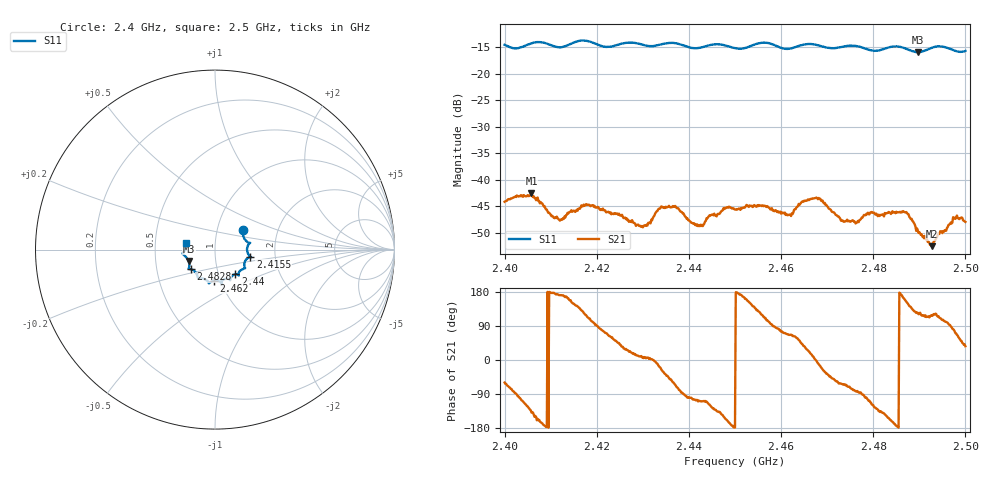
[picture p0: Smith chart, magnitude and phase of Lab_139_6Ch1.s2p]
# Hz S RI R 50
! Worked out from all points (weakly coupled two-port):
!   601 points, 2.4 GHz to 2.5 GHz, reference 50 ohm
!   highest |S21| = -42.55 dB at 2.4058 GHz (marker M1); lowest = -52.5 dB at 2.4927 GHz (marker M2)
!   lowest |S11| = -15.9 dB at 2.4897 GHz (marker M3), VSWR 1.38, Z = 36.9 - j4.82 ohm
!   |S11| at or under -10 dB: start of sweep to end of sweep
!   S12 and S22 are empty: the file has one direction only
!   S11 on the Smith chart (normalised r, x): 2.4 GHz: 1.33, +0.29; 2.4155 GHz: 1.49, -0.12; 2.44 GHz: 1.21, -0.34; 2.462 GHz: 0.93, -0.33; 2.4828 GHz: 0.74, -0.17; 2.5 GHz: 0.72, +0.06
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2.4e9  0.1554 0.1065  0.00314 -0.00535  0 0  0 0
2.405833e9  0.191 0.0378  -0.00561 -0.00491  0 0  0 0
2.412e9  0.1783 -0.000337  -0.00406 0.000624  0 0  0 0
2.4155e9  0.1973 -0.0393  -0.0041 0.00302  0 0  0 0
2.416667e9  0.202 -0.0425  -0.00376 0.00433  0 0  0 0
2.429667e9  0.1563 -0.1081  0.00353 0.000649  0 0  0 0
2.433333e9  0.1308 -0.1337  0.00512 -0.00124  0 0  0 0
2.437e9  0.1322 -0.1436  0.00237 -0.00515  0 0  0 0
2.44e9  0.1142 -0.1366  -0.000583 -0.00411  0 0  0 0
2.4425e9  0.0918 -0.1508  -0.00122 -0.00356  0 0  0 0
2.45e9  0.0648 -0.1624  -0.00523 -0.000155  0 0  0 0
2.456e9  0.0383 -0.1931  -0.00263 0.00509  0 0  0 0
2.462e9  -0.00501 -0.1732  0.00188 0.00427  0 0  0 0
2.466667e9  -0.0345 -0.188  0.00641 0.00156  0 0  0 0
2.4735e9  -0.0843 -0.1601  0.00169 -0.00367  0 0  0 0
2.482833e9  -0.1363 -0.1095  -0.00407 -0.0026  0 0  0 0
2.483333e9  -0.1402 -0.1093  -0.00442 -0.00226  0 0  0 0
2.487167e9  -0.1433 -0.0957  -0.00445 0.0022  0 0  0 0
2.489667e9  -0.1472 -0.0637  -0.00188 0.00275  0 0  0 0
2.492667e9  -0.1738 -0.0294  -0.00112 0.00208  0 0  0 0
2.497833e9  -0.1648 0.00288  0.00141 0.00404  0 0  0 0
2.5e9  -0.1597 0.0389  0.00323 0.00237  0 0  0 0
